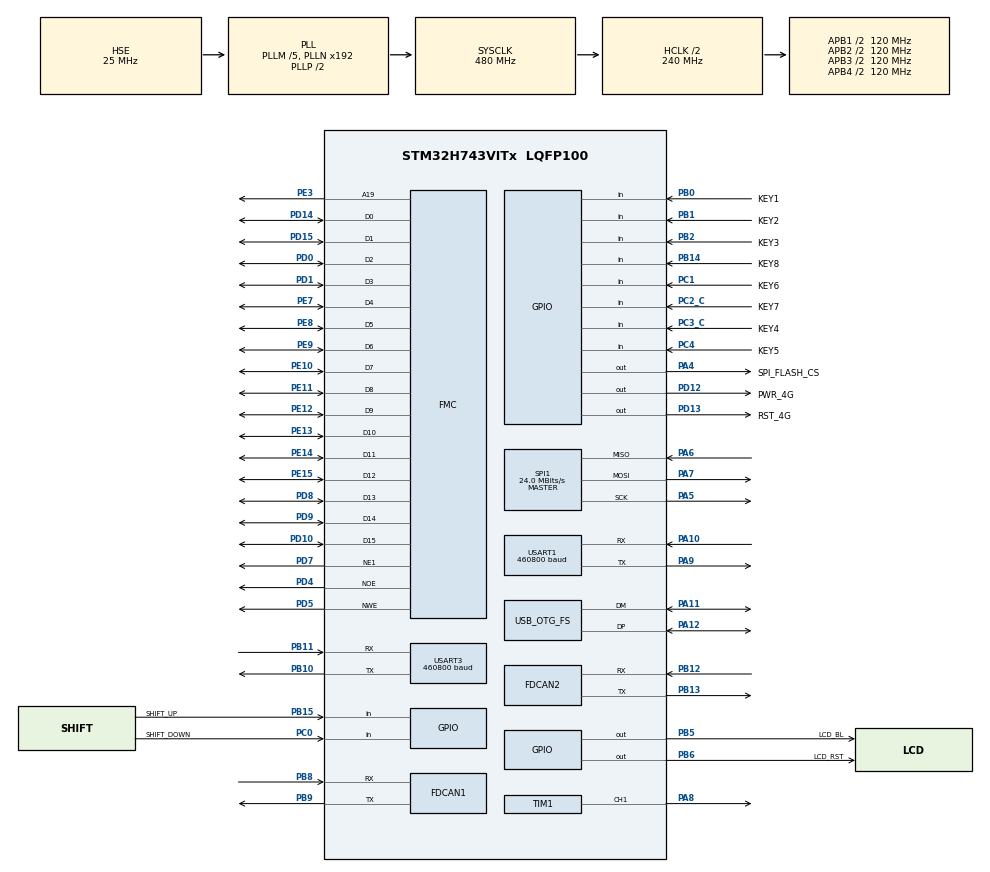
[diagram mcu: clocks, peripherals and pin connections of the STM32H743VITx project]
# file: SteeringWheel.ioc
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CORTEX_M7.default_mode_Activation=1
Dma.Request0=TIM1_CH1
Dma.TIM1_CH1.0.Direction=DMA_MEMORY_TO_PERIPH
Dma.TIM1_CH1.0.EventEnable=DISABLE
Dma.TIM1_CH1.0.FIFOMode=DMA_FIFOMODE_DISABLE
Dma.TIM1_CH1.0.Instance=DMA1_Stream0
Dma.TIM1_CH1.0.MemDataAlignment=DMA_MDATAALIGN_HALFWORD
Dma.TIM1_CH1.0.MemInc=DMA_MINC_ENABLE
Dma.TIM1_CH1.0.Mode=DMA_NORMAL
Dma.TIM1_CH1.0.PeriphDataAlignment=DMA_PDATAALIGN_HALFWORD
Dma.TIM1_CH1.0.PeriphInc=DMA_PINC_DISABLE
Dma.TIM1_CH1.0.Polarity=HAL_DMAMUX_REQ_GEN_RISING
Dma.TIM1_CH1.0.Priority=DMA_PRIORITY_VERY_HIGH
Dma.TIM1_CH1.0.RequestNumber=1
Dma.TIM1_CH1.0.SignalID=NONE
Dma.TIM1_CH1.0.SyncEnable=DISABLE
Dma.TIM1_CH1.0.SyncPolarity=HAL_DMAMUX_SYNC_NO_EVENT
Dma.TIM1_CH1.0.SyncRequestNumber=1
Dma.TIM1_CH1.0.SyncSignalID=NONE
FDCAN1.CalculateBaudRateNominal=600000
FDCAN1.CalculateTimeBitNominal=1666
FDCAN1.CalculateTimeQuantumNominal=333.3333333333333
FDCAN1.DataPrescaler=20
FDCAN1.DataTimeSeg1=2
FDCAN1.DataTimeSeg2=2
FDCAN1.ExtFiltersNbr=1
FDCAN1.FrameFormat=FDCAN_FRAME_CLASSIC
FDCAN1.RxFifo0ElmtsNbr=32
FDCAN1.TxFifoQueueElmtsNbr=16
FDCAN2.CalculateBaudRateNominal=600000
FDCAN2.CalculateTimeBitNominal=1666
FDCAN2.CalculateTimeQuantumNominal=333.3333333333333
FDCAN2.DataPrescaler=20
FDCAN2.DataTimeSeg1=2
FDCAN2.DataTimeSeg2=2
FDCAN2.ExtFiltersNbr=1
FDCAN2.RxFifo0ElmtsNbr=32
FDCAN2.TxFifoQueueElmtsNbr=16
FMC.AddressSetupTime1=2
FMC.BusTurnAroundDuration1=1
FMC.DataSetupTime1=4
FMC.ExtendedMode1=FMC_EXTENDED_MODE_DISABLE
FREERTOS.Tasks01=lvgl,51,1024,lvgl_task,Default,NULL,Dynamic,NULL,NULL;lvgl_meter,50,512,lvgl_meter_task,Default,NULL,Dynamic,NULL,NULL;can_process,52,256,can_process_task,Default,NULL,Dynamic,NULL,NULL;ec200_init,48,1024,ec200_init_task,Default,NULL,Dynamic,NULL,NULL;iot_upload,48,512,iot_upload_task,Default,NULL,Dynamic,NULL,NULL;ws2812b,24,128,ws2812b_task,Default,NULL,Dynamic,NULL,NULL;key_scan,24,128,key_scan_task,Default,NULL,Dynamic,NULL,NULL;usb_poll,24,256,usb_poll_task,Default,NULL,Dynamic,NULL,NULL;mode_detect,32,128,mode_detect_task,Default,NULL,Dynamic,NULL,NULL
FREERTOS.configCHECK_FOR_STACK_OVERFLOW=2
FREERTOS.configTOTAL_HEAP_SIZE=131072
FREERTOS.configUSE_DAEMON_TASK_STARTUP_HOOK=1
FREERTOS.configUSE_MALLOC_FAILED_HOOK=0
IWDG1.Prescaler=IWDG_PRESCALER_64
IWDG1.Reload=2499
IWDG1.Window=2499
Mcu.Family=STM32H7
Mcu.Name=STM32H743VITx
Mcu.Package=LQFP100
NVIC.DMA1_Stream0_IRQn=true\:5\:0\:false\:false\:true\:true\:false\:true\:true
NVIC.FDCAN1_IT0_IRQn=true\:5\:0\:false\:false\:true\:true\:true\:true\:true
NVIC.FDCAN2_IT0_IRQn=true\:5\:0\:false\:false\:true\:true\:true\:true\:true
NVIC.OTG_FS_IRQn=true\:5\:0\:false\:false\:true\:true\:false\:true\:true
NVIC.PriorityGroup=NVIC_PRIORITYGROUP_4
NVIC.SPI1_IRQn=true\:5\:0\:false\:false\:true\:true\:true\:true\:true
NVIC.TIM1_TRG_COM_IRQn=true\:5\:0\:false\:false\:true\:true\:true\:true\:true
NVIC.TIM1_UP_IRQn=true\:5\:0\:false\:false\:true\:true\:true\:true\:true
NVIC.TIM2_IRQn=true\:15\:0\:false\:false\:true\:false\:false\:true\:true
NVIC.TimeBase=TIM2_IRQn
NVIC.TimeBaseIP=TIM2
NVIC.USART1_IRQn=true\:5\:0\:false\:false\:true\:true\:true\:true\:true
NVIC.USART3_IRQn=true\:5\:0\:false\:false\:true\:true\:true\:true\:true
PA10.Mode=Asynchronous
PA10.Signal=USART1_RX
PA11.Mode=Device_Only
PA11.Signal=USB_OTG_FS_DM
PA12.Mode=Device_Only
PA12.Signal=USB_OTG_FS_DP
PA13\ (JTMS/SWDIO).Signal=DEBUG_JTMS-SWDIO
PA14\ (JTCK/SWCLK).Signal=DEBUG_JTCK-SWCLK
PA4.GPIO_Label=SPI_FLASH_CS
PA4.GPIO_PuPd=GPIO_NOPULL
PA4.GPIO_Speed=GPIO_SPEED_FREQ_VERY_HIGH
PA4.PinState=GPIO_PIN_SET
PA4.Signal=GPIO_Output
PA5.Mode=Full_Duplex_Master
PA5.Signal=SPI1_SCK
PA6.Mode=Full_Duplex_Master
PA6.Signal=SPI1_MISO
PA7.Mode=Full_Duplex_Master
PA7.Signal=SPI1_MOSI
PA8.Signal=S_TIM1_CH1
PA9.Mode=Asynchronous
PA9.Signal=USART1_TX
PB0.GPIO_Label=KEY1
PB0.GPIO_PuPd=GPIO_PULLUP
PB0.Signal=GPIO_Input
PB1.GPIO_Label=KEY2
PB1.GPIO_PuPd=GPIO_PULLUP
PB1.Signal=GPIO_Input
PB10.Mode=Asynchronous
PB10.Signal=USART3_TX
PB11.Mode=Asynchronous
PB11.Signal=USART3_RX
PB12.Mode=FDCAN_Activate
PB12.Signal=FDCAN2_RX
PB13.Mode=FDCAN_Activate
PB13.Signal=FDCAN2_TX
PB14.GPIO_Label=KEY8
PB14.GPIO_PuPd=GPIO_PULLUP
PB14.Signal=GPIO_Input
PB15.GPIO_Label=SHIFT_UP
PB15.GPIO_PuPd=GPIO_PULLUP
PB15.Signal=GPIO_Input
PB2.GPIO_Label=KEY3
PB2.GPIO_PuPd=GPIO_PULLUP
PB2.Signal=GPIO_Input
PB5.GPIO_Label=LCD_BL
PB5.Signal=GPIO_Output
PB6.GPIO_Label=LCD_RST
PB6.Signal=GPIO_Output
PB8.Mode=FDCAN_Activate
PB8.Signal=FDCAN1_RX
PB9.Mode=FDCAN_Activate
PB9.Signal=FDCAN1_TX
PC0.GPIO_Label=SHIFT_DOWN
PC0.GPIO_PuPd=GPIO_PULLUP
PC0.Signal=GPIO_Input
PC1.GPIO_Label=KEY6
PC1.GPIO_Mode=GPIO_MODE_INPUT
PC1.GPIO_PuPd=GPIO_PULLUP
PC1.Signal=GPIO_Input
PC2_C.GPIO_Label=KEY7
PC2_C.GPIO_Mode=GPIO_MODE_INPUT
PC2_C.GPIO_PuPd=GPIO_PULLUP
PC2_C.Signal=GPIO_Input
PC3_C.GPIO_Label=KEY4
PC3_C.GPIO_PuPd=GPIO_PULLUP
PC3_C.Signal=GPIO_Input
PC4.GPIO_Label=KEY5
PC4.GPIO_PuPd=GPIO_PULLUP
PC4.Signal=GPIO_Input
PD0.Signal=FMC_D2_DA2
PD1.Signal=FMC_D3_DA3
PD10.Signal=FMC_D15_DA15
PD12.GPIO_Label=PWR_4G
PD12.Signal=GPIO_Output
PD13.GPIO_Label=RST_4G
PD13.Signal=GPIO_Output
PD14.Signal=FMC_D0_DA0
PD15.Signal=FMC_D1_DA1
PD4.Signal=FMC_NOE
PD5.Signal=FMC_NWE
PD7.Mode=NorPsramChipSelect1_1
PD7.Signal=FMC_NE1
PD8.Signal=FMC_D13_DA13
PD9.Signal=FMC_D14_DA14
PE10.Signal=FMC_D7_DA7
PE11.Signal=FMC_D8_DA8
PE12.Signal=FMC_D9_DA9
PE13.Signal=FMC_D10_DA10
PE14.Signal=FMC_D11_DA11
PE15.Signal=FMC_D12_DA12
PE3.Signal=FMC_A19
PE7.Signal=FMC_D4_DA4
PE8.Signal=FMC_D5_DA5
PE9.Signal=FMC_D6_DA6
PH0-OSC_IN\ (PH0).Mode=HSE-External-Oscillator
PH0-OSC_IN\ (PH0).Signal=RCC_OSC_IN
PH1-OSC_OUT\ (PH1).Mode=HSE-External-Oscillator
PH1-OSC_OUT\ (PH1).Signal=RCC_OSC_OUT
ProjectManager.HeapSize=0x200
ProjectManager.StackSize=0x800
ProjectManager.TargetToolchain=CMake
RCC.ADCFreq_Value=50390625
RCC.APB1Freq_Value=120000000
RCC.APB2Freq_Value=120000000
RCC.APB3Freq_Value=120000000
RCC.APB4Freq_Value=120000000
RCC.CortexFreq_Value=480000000
RCC.D1PPRE=RCC_APB3_DIV2
RCC.D2PPRE1=RCC_APB1_DIV2
RCC.D2PPRE2=RCC_APB2_DIV2
RCC.D3PPRE=RCC_APB4_DIV2
RCC.DIVM1=5
RCC.DIVN1=192
RCC.DIVQ1=20
RCC.HCLKFreq_Value=240000000
RCC.HPRE=RCC_HCLK_DIV2
RCC.PLLFRACN=0
RCC.SYSCLKFreq_VALUE=480000000
RCC.SYSCLKSource=RCC_SYSCLKSOURCE_PLLCLK
RCC.USBFreq_Value=48000000
SH.FMC_A19.0=FMC_A19,A19_1
SH.FMC_D0_DA0.0=FMC_D0,16b-d1
SH.FMC_D10_DA10.0=FMC_D10,16b-d1
SH.FMC_D11_DA11.0=FMC_D11,16b-d1
SH.FMC_D12_DA12.0=FMC_D12,16b-d1
SH.FMC_D13_DA13.0=FMC_D13,16b-d1
SH.FMC_D14_DA14.0=FMC_D14,16b-d1
SH.FMC_D15_DA15.0=FMC_D15,16b-d1
SH.FMC_D1_DA1.0=FMC_D1,16b-d1
SH.FMC_D2_DA2.0=FMC_D2,16b-d1
SH.FMC_D3_DA3.0=FMC_D3,16b-d1
SH.FMC_D4_DA4.0=FMC_D4,16b-d1
SH.FMC_D5_DA5.0=FMC_D5,16b-d1
SH.FMC_D6_DA6.0=FMC_D6,16b-d1
SH.FMC_D7_DA7.0=FMC_D7,16b-d1
SH.FMC_D8_DA8.0=FMC_D8,16b-d1
SH.FMC_D9_DA9.0=FMC_D9,16b-d1
SH.FMC_NOE.0=FMC_NOE,Lcd1
SH.FMC_NWE.0=FMC_NWE,Lcd1
SH.S_TIM1_CH1.0=TIM1_CH1,PWM Generation1 CH1
SPI1.BaudRatePrescaler=SPI_BAUDRATEPRESCALER_2
SPI1.CalculateBaudRate=24.0 MBits/s
SPI1.DataSize=SPI_DATASIZE_8BIT
SPI1.Direction=SPI_DIRECTION_2LINES
SPI1.MasterKeepIOState=SPI_MASTER_KEEP_IO_STATE_ENABLE
SPI1.Mode=SPI_MODE_MASTER
SPI1.VirtualType=VM_MASTER
TIM1.Channel-PWM\ Generation1\ CH1=TIM_CHANNEL_1
TIM1.Period=299
USART1.BaudRate=460800
USART1.VirtualMode-Asynchronous=VM_ASYNC
USART3.BaudRate=460800
USART3.VirtualMode-Asynchronous=VM_ASYNC
USB_DEVICE.CLASS_NAME_FS=CDC
USB_DEVICE.VirtualMode-CDC_FS=Cdc
USB_DEVICE.VirtualModeFS=Cdc_FS
USB_OTG_FS.VirtualMode=Device_Only
VP_FREERTOS_VS_CMSIS_V2.Mode=CMSIS_V2
VP_IWDG1_VS_IWDG.Mode=IWDG_Activate
VP_MEMORYMAP_VS_MEMORYMAP.Mode=CurAppReg
VP_SYS_VS_tim2.Mode=TIM2
VP_TIM1_VS_ClockSourceINT.Mode=Internal
VP_USB_DEVICE_VS_USB_DEVICE_CDC_FS.Mode=CDC_FS
board=custom

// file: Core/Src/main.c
/* USER CODE BEGIN Header */
/**
  ******************************************************************************
  * @file           : main.c
  * @brief          : Main program body
  ******************************************************************************
  * @attention
  *
  * Copyright (c) 2026 STMicroelectronics.
  * All rights reserved.
  *
  * This software is licensed under terms that can be found in the LICENSE file
  * in the root directory of this software component.
  * If no LICENSE file comes with this software, it is provided AS-IS.
  *
  ******************************************************************************
  */
/* USER CODE END Header */
#include "main.h"
#include "cmsis_os.h"
#include "dma.h"
#include "fdcan.h"
#include "iwdg.h"
#include "memorymap.h"
#include "spi.h"
#include "tim.h"
#include "usart.h"
#include "usb_device.h"
#include "gpio.h"
#include "fmc.h"

void SystemClock_Config(void);
static void MPU_Config(void);
void MX_FREERTOS_Init(void);

int main(void)
{

  /* MPU Configuration--------------------------------------------------------*/
  MPU_Config();

  /* MCU Configuration--------------------------------------------------------*/

  /* Reset of all peripherals, Initializes the Flash interface and the Systick. */
  HAL_Init();

  /* Configure the system clock */
  SystemClock_Config();

  /* Initialize all configured peripherals */
  MX_GPIO_Init();
  MX_DMA_Init();
  MX_FDCAN1_Init();
  MX_FDCAN2_Init();
  MX_SPI1_Init();
  MX_TIM1_Init();
  MX_USART1_UART_Init();
  MX_USART3_UART_Init();
  MX_FMC_Init();
  MX_IWDG1_Init();

  /* Init scheduler */
  osKernelInitialize();

  /* Call init function for freertos objects (in cmsis_os2.c) */
  MX_FREERTOS_Init();

  /* Start scheduler */
  osKernelStart();

  /* We should never get here as control is now taken by the scheduler */

  /* Infinite loop */
  while (1)
  {

  }
}

void SystemClock_Config(void)
{
  RCC_OscInitTypeDef RCC_OscInitStruct = {0};
  RCC_ClkInitTypeDef RCC_ClkInitStruct = {0};

  /** Supply configuration update enable
  */
  HAL_PWREx_ConfigSupply(PWR_LDO_SUPPLY);

  /** Configure the main internal regulator output voltage
  */
  __HAL_PWR_VOLTAGESCALING_CONFIG(PWR_REGULATOR_VOLTAGE_SCALE1);

  while(!__HAL_PWR_GET_FLAG(PWR_FLAG_VOSRDY)) {}

  __HAL_RCC_SYSCFG_CLK_ENABLE();
  __HAL_PWR_VOLTAGESCALING_CONFIG(PWR_REGULATOR_VOLTAGE_SCALE0);

  while(!__HAL_PWR_GET_FLAG(PWR_FLAG_VOSRDY)) {}

  /** Initializes the RCC Oscillators according to the specified parameters
  * in the RCC_OscInitTypeDef structure.
  */
  RCC_OscInitStruct.OscillatorType = RCC_OSCILLATORTYPE_LSI|RCC_OSCILLATORTYPE_HSE;
  RCC_OscInitStruct.HSEState = RCC_HSE_ON;
  RCC_OscInitStruct.LSIState = RCC_LSI_ON;
  RCC_OscInitStruct.PLL.PLLState = RCC_PLL_ON;
  RCC_OscInitStruct.PLL.PLLSource = RCC_PLLSOURCE_HSE;
  RCC_OscInitStruct.PLL.PLLM = 5;
  RCC_OscInitStruct.PLL.PLLN = 192;
  RCC_OscInitStruct.PLL.PLLP = 2;
  RCC_OscInitStruct.PLL.PLLQ = 20;
  RCC_OscInitStruct.PLL.PLLR = 2;
  RCC_OscInitStruct.PLL.PLLRGE = RCC_PLL1VCIRANGE_2;
  RCC_OscInitStruct.PLL.PLLVCOSEL = RCC_PLL1VCOWIDE;
  RCC_OscInitStruct.PLL.PLLFRACN = 0;
  if (HAL_RCC_OscConfig(&RCC_OscInitStruct) != HAL_OK)
  {
    Error_Handler();
  }

  /** Initializes the CPU, AHB and APB buses clocks
  */
  RCC_ClkInitStruct.ClockType = RCC_CLOCKTYPE_HCLK|RCC_CLOCKTYPE_SYSCLK
                              |RCC_CLOCKTYPE_PCLK1|RCC_CLOCKTYPE_PCLK2
                              |RCC_CLOCKTYPE_D3PCLK1|RCC_CLOCKTYPE_D1PCLK1;
  RCC_ClkInitStruct.SYSCLKSource = RCC_SYSCLKSOURCE_PLLCLK;
  RCC_ClkInitStruct.SYSCLKDivider = RCC_SYSCLK_DIV1;
  RCC_ClkInitStruct.AHBCLKDivider = RCC_HCLK_DIV2;
  RCC_ClkInitStruct.APB3CLKDivider = RCC_APB3_DIV2;
  RCC_ClkInitStruct.APB1CLKDivider = RCC_APB1_DIV2;
  RCC_ClkInitStruct.APB2CLKDivider = RCC_APB2_DIV2;
  RCC_ClkInitStruct.APB4CLKDivider = RCC_APB4_DIV2;

  if (HAL_RCC_ClockConfig(&RCC_ClkInitStruct, FLASH_LATENCY_4) != HAL_OK)
  {
    Error_Handler();
  }
}

 /* MPU Configuration */

void MPU_Config(void)
{
  MPU_Region_InitTypeDef MPU_InitStruct = {0};

  /* Disables the MPU */
  HAL_MPU_Disable();

  /** Initializes and configures the Region and the memory to be protected
  */
  MPU_InitStruct.Enable = MPU_REGION_ENABLE;
  MPU_InitStruct.Number = MPU_REGION_NUMBER0;
  MPU_InitStruct.BaseAddress = 0x0;
  MPU_InitStruct.Size = MPU_REGION_SIZE_4GB;
  MPU_InitStruct.SubRegionDisable = 0x87;
  MPU_InitStruct.TypeExtField = MPU_TEX_LEVEL0;
  MPU_InitStruct.AccessPermission = MPU_REGION_NO_ACCESS;
  MPU_InitStruct.DisableExec = MPU_INSTRUCTION_ACCESS_DISABLE;
  MPU_InitStruct.IsShareable = MPU_ACCESS_SHAREABLE;
  MPU_InitStruct.IsCacheable = MPU_ACCESS_NOT_CACHEABLE;
  MPU_InitStruct.IsBufferable = MPU_ACCESS_NOT_BUFFERABLE;

  HAL_MPU_ConfigRegion(&MPU_InitStruct);
  /* Enables the MPU */
  HAL_MPU_Enable(MPU_PRIVILEGED_DEFAULT);

}

void HAL_TIM_PeriodElapsedCallback(TIM_HandleTypeDef *htim)
{
  if (htim->Instance == TIM2) {
    HAL_IncTick();
  }
}

void Error_Handler(void)
{
  __disable_irq();
  while (1)
  {
  }
}

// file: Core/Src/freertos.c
/* USER CODE BEGIN Header */
/**
  ******************************************************************************
  * File Name          : freertos.c
  * Description        : Code for freertos applications
  ******************************************************************************
  * @attention
  *
  * Copyright (c) 2026 STMicroelectronics.
  * All rights reserved.
  *
  * This software is licensed under terms that can be found in the LICENSE file
  * in the root directory of this software component.
  * If no LICENSE file comes with this software, it is provided AS-IS.
  *
  ******************************************************************************
  */
/* USER CODE END Header */

#include "FreeRTOS.h"
#include "task.h"
#include "main.h"
#include "cmsis_os.h"

/* USER CODE BEGIN Includes */
#include "app_can.h"
#include "app_ec200.h"
#include "app_input.h"
#include "app_ws2812b.h"
#include "app_simhub.h"
#include "app_iap.h"
#include "bsp_usb.h"
#include "Variable.h"
#include "lvgl.h"
#include "iwdg.h"
#include <stdio.h>
/* USER CODE END Includes */

/* Definitions for lvgl */
osThreadId_t lvglHandle;
const osThreadAttr_t lvgl_attributes = {
  .name = "lvgl",
  .stack_size = 1024 * 4,
  .priority = (osPriority_t) osPriorityRealtime3,
};
/* Definitions for lvgl_meter */
osThreadId_t lvgl_meterHandle;
const osThreadAttr_t lvgl_meter_attributes = {
  .name = "lvgl_meter",
  .stack_size = 512 * 4,
  .priority = (osPriority_t) osPriorityRealtime2,
};
/* Definitions for can_process */
osThreadId_t can_processHandle;
const osThreadAttr_t can_process_attributes = {
  .name = "can_process",
  .stack_size = 256 * 4,
  .priority = (osPriority_t) osPriorityRealtime4,
};
/* Definitions for ec200_init */
osThreadId_t ec200_initHandle;
const osThreadAttr_t ec200_init_attributes = {
  .name = "ec200_init",
  .stack_size = 1024 * 4,
  .priority = (osPriority_t) osPriorityRealtime,
};
/* Definitions for iot_upload */
osThreadId_t iot_uploadHandle;
const osThreadAttr_t iot_upload_attributes = {
  .name = "iot_upload",
  .stack_size = 512 * 4,
  .priority = (osPriority_t) osPriorityRealtime,
};
/* Definitions for ws2812b */
osThreadId_t ws2812bHandle;
const osThreadAttr_t ws2812b_attributes = {
  .name = "ws2812b",
  .stack_size = 128 * 4,
  .priority = (osPriority_t) osPriorityNormal,
};
/* Definitions for key_scan */
osThreadId_t key_scanHandle;
const osThreadAttr_t key_scan_attributes = {
  .name = "key_scan",
  .stack_size = 128 * 4,
  .priority = (osPriority_t) osPriorityNormal,
};
/* Definitions for usb_poll */
osThreadId_t usb_pollHandle;
const osThreadAttr_t usb_poll_attributes = {
  .name = "usb_poll",
  .stack_size = 256 * 4,
  .priority = (osPriority_t) osPriorityNormal,
};
/* Definitions for mode_detect */
osThreadId_t mode_detectHandle;
const osThreadAttr_t mode_detect_attributes = {
  .name = "mode_detect",
  .stack_size = 128 * 4,
  .priority = (osPriority_t) osPriorityAboveNormal,
};

void lvgl_task(void *argument);
void lvgl_meter_task(void *argument);
void can_process_task(void *argument);
void ec200_init_task(void *argument);
void iot_upload_task(void *argument);
void ws2812b_task(void *argument);
void key_scan_task(void *argument);
void usb_poll_task(void *argument);
void mode_detect_task(void *argument);

extern void MX_USB_DEVICE_Init(void);
void MX_FREERTOS_Init(void); /* (MISRA C 2004 rule 8.1) */

/* Hook prototypes */
void vApplicationStackOverflowHook(xTaskHandle xTask, signed char *pcTaskName);
void vApplicationDaemonTaskStartupHook(void);

/* USER CODE BEGIN 4 */
void vApplicationStackOverflowHook(xTaskHandle xTask, signed char *pcTaskName)
{
    (void)xTask;
    printf("\r\n!!! STACK OVERFLOW in task: %s\r\n", pcTaskName);
    for(;;);
}
/* USER CODE END 4 */

/* USER CODE BEGIN LONG_PRESS_CALLBACK */
/**
 * @brief 长按回调：长按KEY5跳转系统BootLoader（用于IAP升级）
 */
void APP_Input_LongPressCallback(KeyId_t id)
{
    if (id == KEY_5)
    {
        printf("\r\nLong press KEY5, jumping to bootloader...\r\n");
        HAL_Delay(100);
        APP_IAP_JumpToBootloader();
    }
}
/* USER CODE END LONG_PRESS_CALLBACK */

/* USER CODE BEGIN DAEMON_TASK_STARTUP_HOOK */
void vApplicationDaemonTaskStartupHook(void)
{
}
/* USER CODE END DAEMON_TASK_STARTUP_HOOK */

void MX_FREERTOS_Init(void) {

  /* Create the thread(s) */
  /* creation of lvgl */
  lvglHandle = osThreadNew(lvgl_task, NULL, &lvgl_attributes);

  /* creation of lvgl_meter */
  lvgl_meterHandle = osThreadNew(lvgl_meter_task, NULL, &lvgl_meter_attributes);

  /* creation of can_process */
  can_processHandle = osThreadNew(can_process_task, NULL, &can_process_attributes);

  /* creation of ec200_init */
  ec200_initHandle = osThreadNew(ec200_init_task, NULL, &ec200_init_attributes);

  /* creation of iot_upload */
  iot_uploadHandle = osThreadNew(iot_upload_task, NULL, &iot_upload_attributes);

  /* creation of ws2812b */
  ws2812bHandle = osThreadNew(ws2812b_task, NULL, &ws2812b_attributes);

  /* creation of key_scan */
  key_scanHandle = osThreadNew(key_scan_task, NULL, &key_scan_attributes);

  /* creation of usb_poll */
  usb_pollHandle = osThreadNew(usb_poll_task, NULL, &usb_poll_attributes);

  /* creation of mode_detect */
  mode_detectHandle = osThreadNew(mode_detect_task, NULL, &mode_detect_attributes);

}

void lvgl_task(void *argument)
{
  /* init code for USB_DEVICE */
  MX_USB_DEVICE_Init();
  /* USER CODE BEGIN lvgl_task */
  (void)argument;

  /* 初始化LVGL */
  // extern void ui_init(void);
  // ui_init();

  for(;;)
  {
    /* 获取LVGL互斥锁，保护lv_timer_handler */
    osMutexAcquire(g_lvglMutex, osWaitForever);

    lv_timer_handler();

    osMutexRelease(g_lvglMutex);

    /* 喂狗 */
    HAL_IWDG_Refresh(&hiwdg1);

    osDelay(5);
  }
  /* USER CODE END lvgl_task */
}

void lvgl_meter_task(void *argument)
{
  /* USER CODE BEGIN lvgl_meter_task */
  (void)argument;
  for(;;)
  {
    /* 仪表盘UI更新（CAN数据→LVGL控件） */
    /* TODO: 在实现UI界面后，在此处添加仪表数据刷新逻辑 */
    osDelay(50);
  }
  /* USER CODE END lvgl_meter_task */
}

void can_process_task(void *argument)
{
  /* USER CODE BEGIN can_process_task */
  APP_CAN_Init();

  for(;;)
  {
    APP_CAN_TaskProcess();  /* 阻塞在队列上，有消息就解析 */

    /* 解析完后通知MQTT上传任务 */
    osThreadFlagsSet(iot_uploadHandle, 0x01);
  }
  /* USER CODE END can_process_task */
}

void ec200_init_task(void *argument)
{
  /* USER CODE BEGIN ec200_init_task */
  (void)argument;

  /* SW-M8修复: EC200初始化放在此任务，避免阻塞iot_upload_task */
  APP_EC200_Init();

  /* 初始化完成，通知iot_upload_task可以开始上传 */
  osThreadFlagsSet(iot_uploadHandle, 0x02);

  /* 初始化完成后自删除 */
  osThreadTerminate(ec200_initHandle);
  /* USER CODE END ec200_init_task */
}

/* USER CODE BEGIN Header_iot_upload_task */
/**
 * @brief MQTT数据上传任务
 *        定时读取g_vehicleData并上传到云端
 */
/* USER CODE END Header_iot_upload_task */
void iot_upload_task(void *argument)
{
  /* USER CODE BEGIN iot_upload_task */
  (void)argument;

  /* SW-M8修复: 等待ec200_init_task完成EC200初始化（flag 0x02） */
  osThreadFlagsWait(0x02U, osFlagsWaitAny, osWaitForever);

  for(;;)
  {
    /* 等待CAN任务通知（有新数据） */
    osThreadFlagsWait(0x01U, osFlagsWaitAny, osWaitForever);

    /* 上传数据 */
    APP_EC200_Upload();
  }
  /* USER CODE END iot_upload_task */
}

void ws2812b_task(void *argument)
{
  /* USER CODE BEGIN ws2812b_task */
  (void)argument;
  APP_WS2812B_Init();

  for(;;)
  {
    APP_WS2812B_Update(g_vehicleData.rpm_left, g_workMode);
    osDelay(50);
  }
  /* USER CODE END ws2812b_task */
}

void key_scan_task(void *argument)
{
  /* USER CODE BEGIN key_scan_task */
  (void)argument;
  APP_Input_Init();

  for(;;)
  {
    APP_Input_Scan();
    APP_Input_SendCAN();
    osDelay(20);
  }
  /* USER CODE END key_scan_task */
}

void usb_poll_task(void *argument)
{
  /* USER CODE BEGIN usb_poll_task */
  (void)argument;

  for(;;)
  {
    /* 检查CDC接收（SimHub数据） */
    uint16_t rxLen = g_usbRxLength;
    if (rxLen > 0)
    {
      g_usbRxLength = 0;
      APP_SimHub_ReceiveData(g_usbRxBuffer, rxLen);
      APP_SimHub_Process();

      /* 收到SimHub数据，自动切换到模拟器模式 */
      if (g_workMode == MODE_STANDBY)
      {
        g_workMode = MODE_SIMULATOR;
      }
    }

    /* 模拟器模式下发送HID按键报告 */
    if (g_workMode == MODE_SIMULATOR)
    {
      BSP_USB_SendHIDReport((uint16_t)g_vehicleData.key_state);
    }

    osDelay(10);
  }
  /* USER CODE END usb_poll_task */
}

void mode_detect_task(void *argument)
{
  /* USER CODE BEGIN mode_detect_task */
  (void)argument;
  uint32_t lastCanTick = 0;
  uint32_t lastSimHubTick = 0;

  for(;;)
  {
    uint32_t now = HAL_GetTick();

    /* CAN有数据更新（实车模式） */
    if (g_vehicleData.timestamp != lastCanTick)
    {
      lastCanTick = g_vehicleData.timestamp;
      if (g_workMode != MODE_SIMULATOR)
      {
        g_workMode = MODE_VEHICLE;
      }
    }

    /* SimHub有数据更新（模拟器模式，由usb_poll_task设置） */
    if (g_workMode == MODE_SIMULATOR)
    {
      lastSimHubTick = now;
    }

    /* 超过5秒无任何数据，回到待机 */
    if (g_workMode == MODE_VEHICLE && (now - lastCanTick > 5000))
    {
      g_workMode = MODE_STANDBY;
    }
    if (g_workMode == MODE_SIMULATOR && (now - lastSimHubTick > 5000))
    {
      g_workMode = MODE_STANDBY;
    }

    osDelay(500);
  }
  /* USER CODE END mode_detect_task */
}
